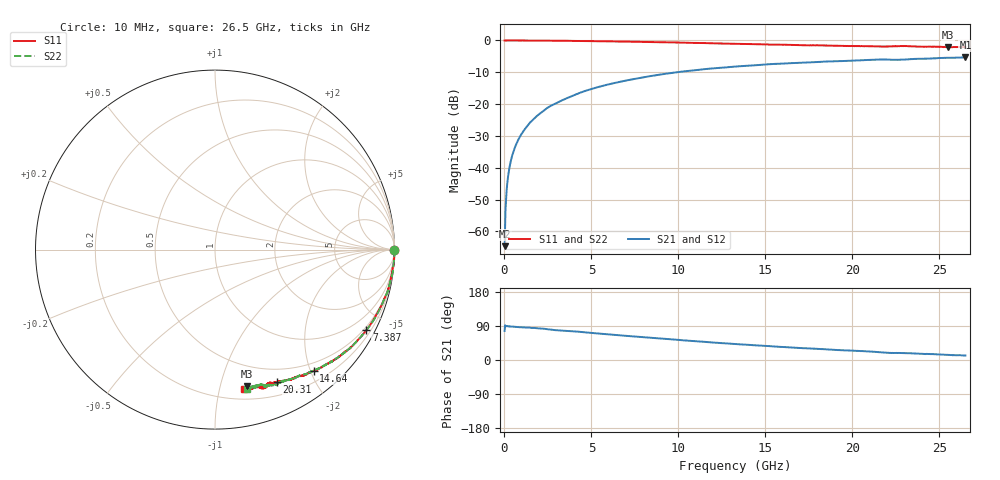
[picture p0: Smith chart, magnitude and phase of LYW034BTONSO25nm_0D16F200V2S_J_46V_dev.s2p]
!Keysight Technologies,N5222B,MY61253708,A.15.00.15
!Date: Wednesday, June 19, 2024 09:04:03
!Correction: S11(C  2-Port  )
!S21(C  2-Port  )
!S12(C  2-Port  )
!S22(C  2-Port  )
!S2P File: Measurements: S11, S21, S12, S22:
# Hz S  RI  R 50
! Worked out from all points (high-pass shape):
!   2651 points, 10 MHz to 26.5 GHz, reference 50 ohm
!   highest |S21| = -5.28 dB at 26.5 GHz (marker M1); lowest = -64.6 dB at 10 MHz (marker M2)
!   |S21| within 3 dB of the highest: 13.11 GHz to end of sweep
!   lowest |S11| = -2.2 dB at 25.5 GHz (marker M3), VSWR 8.09, Z = 15.6 - j60.7 ohm
!   |S11| at or under -10 dB: nowhere
!   |S22| runs from -2.1 to 0.0 dB; largest |S21 - S12| = 0.0073
!   S11 on the Smith chart (normalised r, x): 10 MHz: open; 7.387 GHz: 0.39, -3.97; 14.64 GHz: 0.37, -2.05; 20.31 GHz: 0.34, -1.52; 26.5 GHz: 0.29, -1.19
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1e7  0.9988 -0.00231  0.000133 0.000572  -6.52e-05 0.000603  0.9985 -0.000918
7.997358e7  0.9998 -0.00582  5.23e-06 0.00282  8.14e-06 0.0028  0.9994 -0.00532
1.699396e8  0.9998 -0.0122  7.16e-05 0.00593  7.71e-05 0.00598  0.9996 -0.0115
2.199208e8  0.9996 -0.0158  0.00014 0.00767  0.000161 0.00771  0.9993 -0.0149
2.898943e8  0.9997 -0.0207  0.000209 0.0101  0.000246 0.0102  0.9995 -0.0199
3.998528e8  0.999 -0.0285  0.000432 0.0139  0.000398 0.014  0.9992 -0.0272
5.398e8  0.9989 -0.0377  0.000643 0.0188  0.000705 0.0189  0.9987 -0.0368
8.996642e8  0.9972 -0.0627  0.00189 0.0311  0.00191 0.0313  0.9969 -0.0611
1.489442e9  0.9894 -0.104  0.00458 0.0517  0.00461 0.052  0.9924 -0.1003
2.359113e9  0.9799 -0.1595  0.0116 0.0827  0.0119 0.0832  0.9814 -0.1592
3.208792e9  0.9669 -0.2154  0.0235 0.1089  0.0236 0.1096  0.9674 -0.2136
4.428332e9  0.937 -0.29  0.0425 0.1478  0.0428 0.1486  0.9391 -0.2863
5.767826e9  0.8983 -0.364  0.0726 0.1836  0.0736 0.1846  0.9015 -0.3629
7.387215e9  0.843 -0.4487  0.114 0.2181  0.1151 0.219  0.8462 -0.4457
8.846664e9  0.7873 -0.5129  0.1561 0.2424  0.1574 0.2432  0.7902 -0.51
1.3255e10  0.6048 -0.648  0.2874 0.2614  0.2895 0.2613  0.6104 -0.6455
1.464448e10  0.5502 -0.6751  0.3233 0.2555  0.3254 0.2554  0.5564 -0.6716
1.767333e10  0.4294 -0.7199  0.3931 0.2277  0.3962 0.2265  0.443 -0.7174
2.031234e10  0.3449 -0.7387  0.4427 0.1982  0.4456 0.1951  0.3611 -0.7396
2.209166e10  0.2958 -0.7463  0.4729 0.1617  0.4744 0.1596  0.2927 -0.7534
2.550038e10  0.1786 -0.7593  0.5195 0.1227  0.5208 0.1237  0.2017 -0.7647
2.65e10  0.1607 -0.7741  0.5328 0.1118  0.5318 0.109  0.1757 -0.7743
